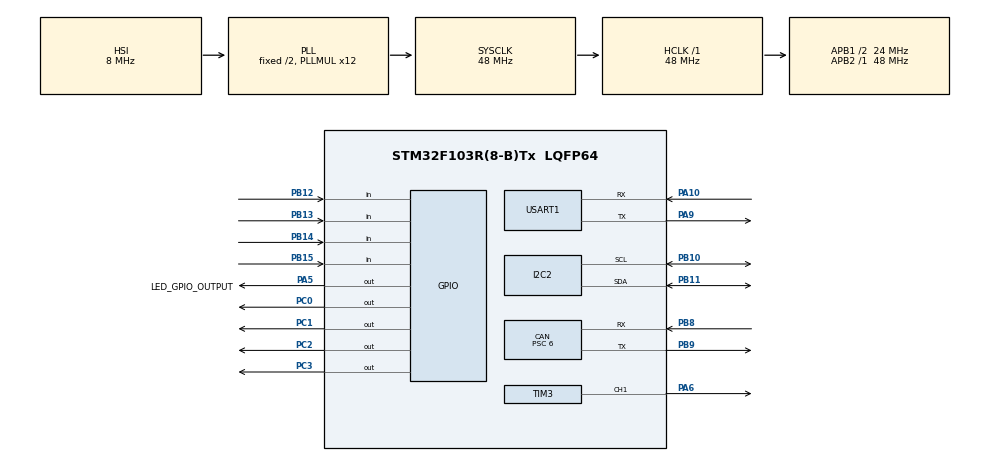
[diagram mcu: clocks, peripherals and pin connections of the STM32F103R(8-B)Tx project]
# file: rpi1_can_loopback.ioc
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CAN.ABOM=ENABLE
CAN.BS1=CAN_BS1_13TQ
CAN.BS2=CAN_BS2_2TQ
CAN.CalculateBaudRate=250000
CAN.CalculateTimeBit=4000
CAN.CalculateTimeQuantum=250.0
CAN.NART=ENABLE
CAN.Prescaler=6
Mcu.Family=STM32F1
Mcu.Name=STM32F103R(8-B)Tx
Mcu.Package=LQFP64
NVIC.PriorityGroup=NVIC_PRIORITYGROUP_4
NVIC.USB_LP_CAN1_RX0_IRQn=true\:0\:0\:false\:false\:true\:true\:true\:true
PA10.Mode=Asynchronous
PA10.Signal=USART1_RX
PA13.Mode=Serial_Wire
PA13.Signal=SYS_JTMS-SWDIO
PA14.Mode=Serial_Wire
PA14.Signal=SYS_JTCK-SWCLK
PA5.GPIO_Label=LED_GPIO_OUTPUT
PA5.Signal=GPIO_Output
PA6.Signal=S_TIM3_CH1
PA9.Mode=Asynchronous
PA9.Signal=USART1_TX
PB10.Mode=I2C
PB10.Signal=I2C2_SCL
PB11.Mode=I2C
PB11.Signal=I2C2_SDA
PB12.GPIO_PuPd=GPIO_PULLUP
PB12.Signal=GPIO_Input
PB13.GPIO_PuPd=GPIO_PULLUP
PB13.Signal=GPIO_Input
PB14.GPIO_PuPd=GPIO_PULLUP
PB14.Signal=GPIO_Input
PB15.GPIO_PuPd=GPIO_PULLUP
PB15.Signal=GPIO_Input
PB8.Mode=CAN_Activate
PB8.Signal=CAN_RX
PB9.Mode=CAN_Activate
PB9.Signal=CAN_TX
PC0.Signal=GPIO_Output
PC1.Signal=GPIO_Output
PC2.Signal=GPIO_Output
PC3.Signal=GPIO_Output
ProjectManager.HeapSize=0x200
ProjectManager.StackSize=0x400
ProjectManager.TargetToolchain=STM32CubeIDE
RCC.AHBFreq_Value=48000000
RCC.APB1CLKDivider=RCC_HCLK_DIV2
RCC.APB1Freq_Value=24000000
RCC.APB1TimFreq_Value=48000000
RCC.APB2Freq_Value=48000000
RCC.APB2TimFreq_Value=48000000
RCC.HCLKFreq_Value=48000000
RCC.PLLMUL=RCC_PLL_MUL12
RCC.SYSCLKFreq_VALUE=48000000
RCC.SYSCLKSource=RCC_SYSCLKSOURCE_PLLCLK
RCC.USBFreq_Value=48000000
SH.S_TIM3_CH1.0=TIM3_CH1,PWM Generation1 CH1
TIM3.Channel-PWM\ Generation1\ CH1=TIM_CHANNEL_1
TIM3.Period=19999
TIM3.Prescaler=47
USART1.VirtualMode=VM_ASYNC
board=custom

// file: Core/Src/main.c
/* USER CODE BEGIN Header */
/**
  ******************************************************************************
  * @file           : main.c
  * @brief          : CargoECU — STM32F103RBTx (MangoM32)
  *
  * [CAN 프로토콜 - 확정]
  *
  *  RPi1 → 모터ECU
  *   0x010 (DLC=3): 모터 명령 (dir + rpm)
  *   0x011 (DLC=1): E-Stop
  *
  *  RPi1 → 적재함ECU  <- 이 파일
  *   0x012 (DLC=6): 배달정보  Byte0=0x01, Byte1~4=PIN, Byte5=목적지
  *   0x013 (DLC=1): 도착신호  Byte0=0x01
  *
  *  적재함ECU → RPi1
  *   0x301 (DLC=1): 도어상태  0x00=닫힘 → RPi1 유턴 트리거
  *   0x302 (DLC=1): 인증결과  0x01=성공, 0x02=오배달/미수령
  *   0x303 (DLC=1): 잠금      0x01=5회 실패
  *
  * [핀맵]
  *  CAN    : PB8(RX) / PB9(TX)        AFIO Remap2
  *  I2C2   : PB10(SCL) / PB11(SDA)    → 16x2 LCD
  *  TIM3   : PA6(CH1)                 → Servo PWM 50Hz
  *  LED    : PA5                      → GPIO Output
  *  USART1 : PA9(TX) / PA10(RX)       → 디버그 115200
  *  Keypad Row : PC0~PC3              Output
  *  Keypad Col : PB12~PB15            Input Pull-Up
  ******************************************************************************
  */
/* USER CODE END Header */

#include "main.h"
#include "can.h"
#include "i2c.h"
#include "tim.h"
#include "usart.h"
#include "gpio.h"

/* USER CODE BEGIN Includes */
#include <stdio.h>
#include <string.h>
#include "lcd_i2c.h"
#include "keypad.h"
/* USER CODE END Includes */

/* USER CODE BEGIN PD */
/* 수정1: 30초로 수정 (300000U -> 30000U) */
#define AUTH_TIMEOUT_MS   30000U

/* 수정6: 서보 PWM 매크로화 */
#define SERVO_OPEN        2000
#define SERVO_CLOSE       1000

/* CAN ID 정의 */
#define CAN_CARGO_INFO    0x012
#define CAN_CARGO_ARRIVE  0x013
#define CAN_DOOR_STATUS   0x301
#define CAN_AUTH_RESULT   0x302
#define CAN_LOCKED        0x303
/* USER CODE END PD */

/* USER CODE BEGIN PV */
typedef enum {
    STATE_IDLE,
    STATE_PKG_RECEIVED,
    STATE_VERIFY_DEST,
    STATE_WRONG_DEST_CONFIRM,
    STATE_WAIT_FOR_PIN,
    STATE_LOCKED
} CargoState;

static const char* const STATE_NAME[] = {
    "IDLE", "PKG_RECEIVED", "VERIFY_DEST",
    "WRONG_DEST_CONFIRM", "WAIT_FOR_PIN", "LOCKED"
};

CargoState state       = STATE_IDLE;
char received_pin[5]   = "0000";
char input_pin[5]      = { 0 };
char dest_addr         = 'A';
char entered_dest      = '?';
uint8_t  pin_idx       = 0;
uint8_t  fail_cnt      = 0;
uint32_t lock_time     = 0;
uint32_t auth_start    = 0;

/* 수정3: last_lock_tick 전역화 */
uint32_t last_lock_tick = 0;

CAN_TxHeaderTypeDef TxHeader;
uint32_t TxMailbox;

volatile uint8_t pin_received_flag = 0;
volatile uint8_t arrival_flag      = 0;
/* USER CODE END PV */

void SystemClock_Config(void);

/* USER CODE BEGIN 0 */
int __io_putchar(int ch) {
    HAL_UART_Transmit(&huart1, (uint8_t*)&ch, 1, HAL_MAX_DELAY);
    return ch;
}

static void LCD_PrintPad(uint8_t row, uint8_t col, const char *str)
{
    char buf[17];
    int len = (int)strlen(str);
    if (len > 16) len = 16;
    memcpy(buf, str, len);
    for (int i = len; i < 16; i++) buf[i] = ' ';
    buf[16] = '\0';
    LCD_SetCursor(row, col);
    LCD_Print(buf);
}

static void LCD_UpdatePinMask(void)
{
    char line[17] = "PW: ____        ";
    for (int i = 0; i < pin_idx; i++)
        line[4 + i] = '*';
    LCD_SetCursor(1, 0);
    LCD_Print(line);
}

static void CAN_Send(uint32_t id, uint8_t data)
{
    TxHeader.StdId              = id;
    TxHeader.DLC                = 1;
    TxHeader.IDE                = CAN_ID_STD;
    TxHeader.RTR                = CAN_RTR_DATA;
    TxHeader.TransmitGlobalTime = DISABLE;
    HAL_CAN_AddTxMessage(&hcan, &TxHeader, &data, &TxMailbox);
}

static void Log_StateChange(CargoState from, CargoState to)
{
    printf("  [STATE] %s -> %s\r\n", STATE_NAME[from], STATE_NAME[to]);
}

static void Reset_To_Idle(void)
{
    state        = STATE_IDLE;
    pin_idx      = 0;
    fail_cnt     = 0;
    dest_addr    = 'A';
    entered_dest = '?';
    auth_start   = 0;
    memset(input_pin, 0, sizeof(input_pin));
    memcpy(received_pin, "0000", 5);

    LCD_Clear();
    LCD_PrintPad(0, 0, "  Cargo  ECU  ");
    LCD_PrintPad(1, 0, "   Waiting...  ");

    printf("  [RESET] IDLE 복귀\r\n");
}
/* USER CODE END 0 */

int main(void)
{
    HAL_Init();
    SystemClock_Config();

    __HAL_RCC_AFIO_CLK_ENABLE();
    __HAL_AFIO_REMAP_CAN1_2();

    MX_GPIO_Init();
    MX_CAN_Init();
    MX_USART1_UART_Init();
    MX_I2C2_Init();
    MX_TIM3_Init();

    /* CAN 필터 (전체 수신) */
    CAN_FilterTypeDef sFilterConfig = {0};
    sFilterConfig.FilterBank           = 0;
    sFilterConfig.FilterMode           = CAN_FILTERMODE_IDMASK;
    sFilterConfig.FilterScale          = CAN_FILTERSCALE_32BIT;
    sFilterConfig.FilterFIFOAssignment = CAN_RX_FIFO0;
    sFilterConfig.FilterActivation     = ENABLE;
    HAL_CAN_ConfigFilter(&hcan, &sFilterConfig);
    HAL_CAN_Start(&hcan);
    HAL_CAN_ActivateNotification(&hcan, CAN_IT_RX_FIFO0_MSG_PENDING);

    /* 서보 닫힘 */
    __HAL_TIM_SET_COMPARE(&htim3, TIM_CHANNEL_1, SERVO_CLOSE);
    HAL_TIM_PWM_Start(&htim3, TIM_CHANNEL_1);

    /* LED OFF */
    HAL_GPIO_WritePin(GPIOA, GPIO_PIN_5, GPIO_PIN_RESET);

    /* LCD 초기화 */
    LCD_Init(&hi2c2);
    LCD_Clear();
    LCD_PrintPad(0, 0, "  Cargo  ECU  ");
    LCD_PrintPad(1, 0, "   Waiting...  ");

    printf("\r\n");
    printf("╔══════════════════════════════════════════╗\r\n");
    printf("║   CargoECU  STM32F103RBTx  MangoM32      ║\r\n");
    printf("║   CAN ID: RX=0x012,0x013 TX=0x301~0x303 ║\r\n");
    printf("╠══════════════════════════════════════════╣\r\n");
    printf("║  0x012: 배달정보(PIN+목적지) 수신         ║\r\n");
    printf("║  0x013: 도착신호 수신                     ║\r\n");
    printf("║  0x301: 도어닫힘 -> RPi1 유턴트리거       ║\r\n");
    printf("╚══════════════════════════════════════════╝\r\n\r\n");

    while (1)
    {
        /* ── [1] 0x012 배달정보 수신 처리 ── */
        if (pin_received_flag)
        {
            pin_received_flag = 0;
            printf("┌──────────────────────────────────────────┐\r\n");
            printf("│  [CAN RX 0x012] 배달정보 수신            │\r\n");
            printf("│  목적지: %c  PIN: %s                    │\r\n", dest_addr, received_pin);
            Log_StateChange(STATE_IDLE, STATE_PKG_RECEIVED);
            printf("│  0x013 도착신호 대기 중...               │\r\n");
            printf("└──────────────────────────────────────────┘\r\n\r\n");

            char dest_line[17];
            snprintf(dest_line, sizeof(dest_line), "Destination: %c  ", dest_addr);
            LCD_Clear();
            LCD_PrintPad(0, 0, dest_line);
            LCD_PrintPad(1, 0, "PIN received!   ");
        }

        /* ── [2] 0x013 도착신호 수신 처리 ── */
        if (arrival_flag)
        {
            arrival_flag = 0;
            auth_start   = HAL_GetTick();

            printf("┌──────────────────────────────────────────┐\r\n");
            printf("│  [CAN RX 0x013] 도착 신호!               │\r\n");
            Log_StateChange(STATE_PKG_RECEIVED, STATE_VERIFY_DEST);
            printf("└──────────────────────────────────────────┘\r\n\r\n");

            LCD_Clear();
            LCD_PrintPad(0, 0, "Destination?    ");
            LCD_PrintPad(1, 0, "Enter: A B C D  ");
        }

        /* ── [3] 잠금 상태 ── */
        if (state == STATE_LOCKED)
        {
            uint32_t elapsed = HAL_GetTick() - lock_time;
            if (elapsed >= 10000)
            {
                state          = STATE_WAIT_FOR_PIN;
                fail_cnt       = 0;
                pin_idx        = 0;
                last_lock_tick = 0;  /* 수정3: 잠금 해제 시 명시적 초기화 */
                memset(input_pin, 0, sizeof(input_pin));
                auth_start     = HAL_GetTick();

                LCD_Clear();
                LCD_PrintPad(0, 0, "Pkg arrived!!   ");
                LCD_UpdatePinMask();
                Log_StateChange(STATE_LOCKED, STATE_WAIT_FOR_PIN);
            }
            else
            {
                if (HAL_GetTick() - last_lock_tick >= 1000)
                {
                    last_lock_tick = HAL_GetTick();
                    uint32_t remain = (10000 - elapsed) / 1000;
                    char lock_line[17];
                    snprintf(lock_line, sizeof(lock_line), "  Wait: %lus...  ", remain);
                    LCD_PrintPad(1, 0, lock_line);
                    printf("[LOCKED] %lu sec remaining\r\n", remain);
                }
            }
            continue;
        }

        /* ── [4] 타임아웃 처리 ── */
        if ((state == STATE_VERIFY_DEST        ||
             state == STATE_WRONG_DEST_CONFIRM ||
             state == STATE_WAIT_FOR_PIN) && auth_start != 0)
        {
            if (HAL_GetTick() - auth_start >= AUTH_TIMEOUT_MS)
            {
                printf("[TIMEOUT] 미수령 -> RPi1에 0x302=0x02 귀환신호\r\n");
                CAN_Send(CAN_AUTH_RESULT, 0x02);
                LCD_Clear();
                LCD_PrintPad(0, 0, "No claim...     ");
                LCD_PrintPad(1, 0, "Returning home  ");
                HAL_Delay(1500);
                Reset_To_Idle();
                continue;
            }
        }

        /* ── [5] 키패드 스캔 ── */
        char key = Keypad_Scan();
        if (key != 0)
        {
            while (Keypad_Scan() != 0) HAL_Delay(10);
            HAL_Delay(50);
            printf("[KEY] '%c'  STATE=%s\r\n", key, STATE_NAME[state]);
        }

        /* ── [6] 목적지 확인 ── */
        if (state == STATE_VERIFY_DEST)
        {
            if (key != 'A' && key != 'B' && key != 'C' && key != 'D')
                continue;

            entered_dest = key;
            printf("[DEST] Input='%c'  Expected='%c'\r\n", entered_dest, dest_addr);

            if (entered_dest == dest_addr)
            {
                printf("[DEST] 일치! PIN 입력으로\r\n");
                Log_StateChange(STATE_VERIFY_DEST, STATE_WAIT_FOR_PIN);
                state   = STATE_WAIT_FOR_PIN;
                pin_idx = 0;
                memset(input_pin, 0, sizeof(input_pin));
                LCD_Clear();
                LCD_PrintPad(0, 0, "Pkg arrived!!   ");
                LCD_UpdatePinMask();
            }
            else
            {
                printf("[DEST] 불일치! 오배달 확인\r\n");
                Log_StateChange(STATE_VERIFY_DEST, STATE_WRONG_DEST_CONFIRM);
                state = STATE_WRONG_DEST_CONFIRM;
                char confirm_line[17];
                snprintf(confirm_line, sizeof(confirm_line), "Is dest %c right?", entered_dest);
                LCD_Clear();
                LCD_PrintPad(0, 0, confirm_line);
                LCD_PrintPad(1, 0, "1:YES  2:NO     ");
            }
            continue;
        }

        /* ── [7] 오배달 확인 ── */
        if (state == STATE_WRONG_DEST_CONFIRM)
        {
            if (key != '1' && key != '2') continue;

            if (key == '1')
            {
                printf("[오배달] 확정 -> RPi1에 0x302=0x02\r\n");
                CAN_Send(CAN_AUTH_RESULT, 0x02);
                LCD_Clear();
                LCD_PrintPad(0, 0, "Wrong delivery! ");
                LCD_PrintPad(1, 0, "Returning home  ");
                HAL_Delay(1500);
                Reset_To_Idle();
            }
            else
            {
                state = STATE_VERIFY_DEST;
                LCD_Clear();
                LCD_PrintPad(0, 0, "Destination?    ");
                LCD_PrintPad(1, 0, "Enter: A B C D  ");
            }
            continue;
        }

        /* ── [8] PIN 입력 ── */
        if (state != STATE_WAIT_FOR_PIN || key == 0)
            continue;

        if (key == '#')
        {
            /* 수정4: pin_idx 범위 방어 */
            input_pin[pin_idx < 4 ? pin_idx : 4] = '\0';
            printf("[AUTH] Input='%s'  Expected='%s'\r\n", input_pin, received_pin);

            if (strcmp(input_pin, received_pin) == 0)
            {
                fail_cnt = 0;
                printf("[AUTH] 성공!\r\n");

                LCD_Clear();
                LCD_PrintPad(0, 0, "Delivery Done!  ");
                LCD_PrintPad(1, 0, "Enjoy ur day! :D");

                HAL_GPIO_WritePin(GPIOA, GPIO_PIN_5, GPIO_PIN_SET);
                __HAL_TIM_SET_COMPARE(&htim3, TIM_CHANNEL_1, SERVO_OPEN);

                CAN_Send(CAN_AUTH_RESULT, 0x01);
                printf("[CAN TX] 0x302=0x01 인증성공 -> RPi1\r\n");

                /* 수정7: HAL_GetTick() 기반 논블로킹 카운트다운 */
                uint32_t cd_start = HAL_GetTick();
                int last_cnt = 5;
                char cd_line[17];
                snprintf(cd_line, sizeof(cd_line), "Closing in %ds  ", last_cnt);
                LCD_PrintPad(1, 0, cd_line);
                printf("[SERVO] Closing in %d sec...\r\n", last_cnt);

                while (HAL_GetTick() - cd_start < 5000)
                {
                    int cur_cnt = 5 - (int)((HAL_GetTick() - cd_start) / 1000);
                    if (cur_cnt < 1) cur_cnt = 1;
                    if (cur_cnt != last_cnt)
                    {
                        last_cnt = cur_cnt;
                        snprintf(cd_line, sizeof(cd_line), "Closing in %ds  ", last_cnt);
                        LCD_PrintPad(1, 0, cd_line);
                        printf("[SERVO] Closing in %d sec...\r\n", last_cnt);
                    }
                }

                __HAL_TIM_SET_COMPARE(&htim3, TIM_CHANNEL_1, SERVO_CLOSE);
                HAL_GPIO_WritePin(GPIOA, GPIO_PIN_5, GPIO_PIN_RESET);

                CAN_Send(CAN_DOOR_STATUS, 0x00);
                printf("[CAN TX] 0x301=0x00 도어닫힘 -> RPi1 유턴트리거\r\n");

                Log_StateChange(STATE_WAIT_FOR_PIN, STATE_IDLE);
                Reset_To_Idle();
            }
            else
            {
                fail_cnt++;
                int remain_tries = 5 - (int)fail_cnt;
                printf("[AUTH] 실패 %d/5 (남은횟수: %d)\r\n", fail_cnt, remain_tries);

                pin_idx = 0;
                memset(input_pin, 0, sizeof(input_pin));

                LCD_Clear();
                LCD_PrintPad(0, 0, "Wrong PIN!      ");
                char try_line[17];
                if (remain_tries > 0)
                    snprintf(try_line, sizeof(try_line), "%d tries left   ", remain_tries);
                else
                    snprintf(try_line, sizeof(try_line), "No tries left!  ");
                LCD_PrintPad(1, 0, try_line);

                if (fail_cnt >= 5)
                {
                    CAN_Send(CAN_LOCKED, 0x01);
                    printf("[CAN TX] 0x303=0x01 잠금\r\n");

                    state          = STATE_LOCKED;
                    lock_time      = HAL_GetTick();
                    last_lock_tick = 0;  /* 수정3: 잠금 진입 시 명시적 초기화 */

                    HAL_GPIO_WritePin(GPIOA, GPIO_PIN_5, GPIO_PIN_SET);
                    HAL_Delay(600);
                    HAL_GPIO_WritePin(GPIOA, GPIO_PIN_5, GPIO_PIN_RESET);

                    LCD_Clear();
                    LCD_PrintPad(0, 0, "!! LOCKED !!    ");
                    LCD_PrintPad(1, 0, "  Wait: 10s...  ");
                    Log_StateChange(STATE_WAIT_FOR_PIN, STATE_LOCKED);
                }
                else
                {
                    for (int i = 0; i < 6; i++) {
                        HAL_GPIO_TogglePin(GPIOA, GPIO_PIN_5);
                        HAL_Delay(200);
                    }
                    HAL_Delay(600);
                    LCD_Clear();
                    LCD_PrintPad(0, 0, "Pkg arrived!!   ");
                    LCD_UpdatePinMask();
                }
            }
        }
        else if (key == '*')
        {
            if (pin_idx > 0) {
                pin_idx--;
                input_pin[pin_idx] = '\0';
                LCD_UpdatePinMask();
            }
        }
        else if (pin_idx < 4)
        {
            input_pin[pin_idx] = key;
            pin_idx++;
            LCD_UpdatePinMask();
        }
        else
        {
            printf("[PIN] 4자리 초과 — # 제출 또는 * 삭제\r\n");
        }
    }
}

/* ── CAN RX 인터럽트 콜백 ── */
/* 수정1: ISR 안 printf 전부 제거 */
void HAL_CAN_RxFifo0MsgPendingCallback(CAN_HandleTypeDef *hcan_arg)
{
    CAN_RxHeaderTypeDef RxHeader;
    uint8_t RxData[8] = {0};

    if (HAL_CAN_GetRxMessage(hcan_arg, CAN_RX_FIFO0, &RxHeader, RxData) != HAL_OK)
        return;

    if (RxHeader.StdId == CAN_CARGO_INFO &&
        RxHeader.DLC >= 6 && RxData[0] == 0x01)
    {
        if (state != STATE_IDLE)
            return;

        received_pin[0] = '0' + RxData[1];
        received_pin[1] = '0' + RxData[2];
        received_pin[2] = '0' + RxData[3];
        received_pin[3] = '0' + RxData[4];
        received_pin[4] = '\0';

        switch (RxData[5]) {
            case 0x01: dest_addr = 'A'; break;
            case 0x02: dest_addr = 'B'; break;
            case 0x03: dest_addr = 'C'; break;
            case 0x04: dest_addr = 'D'; break;
            default:   dest_addr = 'A'; break;
        }
        state             = STATE_PKG_RECEIVED;
        fail_cnt          = 0;
        pin_idx           = 0;
        memset(input_pin, 0, sizeof(input_pin));
        pin_received_flag = 1;
        return;
    }

    if (RxHeader.StdId == CAN_CARGO_ARRIVE && RxData[0] == 0x01)
    {
        if (state == STATE_PKG_RECEIVED) {
            state        = STATE_VERIFY_DEST;
            arrival_flag = 1;
        }
        return;
    }
}

void SystemClock_Config(void)
{
    RCC_OscInitTypeDef RCC_OscInitStruct = {0};
    RCC_ClkInitTypeDef RCC_ClkInitStruct = {0};

    RCC_OscInitStruct.OscillatorType      = RCC_OSCILLATORTYPE_HSI;
    RCC_OscInitStruct.HSIState            = RCC_HSI_ON;
    RCC_OscInitStruct.HSICalibrationValue = RCC_HSICALIBRATION_DEFAULT;
    RCC_OscInitStruct.PLL.PLLState        = RCC_PLL_ON;
    RCC_OscInitStruct.PLL.PLLSource       = RCC_PLLSOURCE_HSI_DIV2;
    RCC_OscInitStruct.PLL.PLLMUL          = RCC_PLL_MUL12;
    if (HAL_RCC_OscConfig(&RCC_OscInitStruct) != HAL_OK)
        Error_Handler();

    RCC_ClkInitStruct.ClockType      = RCC_CLOCKTYPE_HCLK | RCC_CLOCKTYPE_SYSCLK
                                     | RCC_CLOCKTYPE_PCLK1 | RCC_CLOCKTYPE_PCLK2;
    RCC_ClkInitStruct.SYSCLKSource   = RCC_SYSCLKSOURCE_PLLCLK;
    RCC_ClkInitStruct.AHBCLKDivider  = RCC_SYSCLK_DIV1;
    RCC_ClkInitStruct.APB1CLKDivider = RCC_HCLK_DIV2;
    RCC_ClkInitStruct.APB2CLKDivider = RCC_HCLK_DIV1;
    if (HAL_RCC_ClockConfig(&RCC_ClkInitStruct, FLASH_LATENCY_1) != HAL_OK)
        Error_Handler();
}

void Error_Handler(void)
{
    __disable_irq();
    while (1) {}
}
